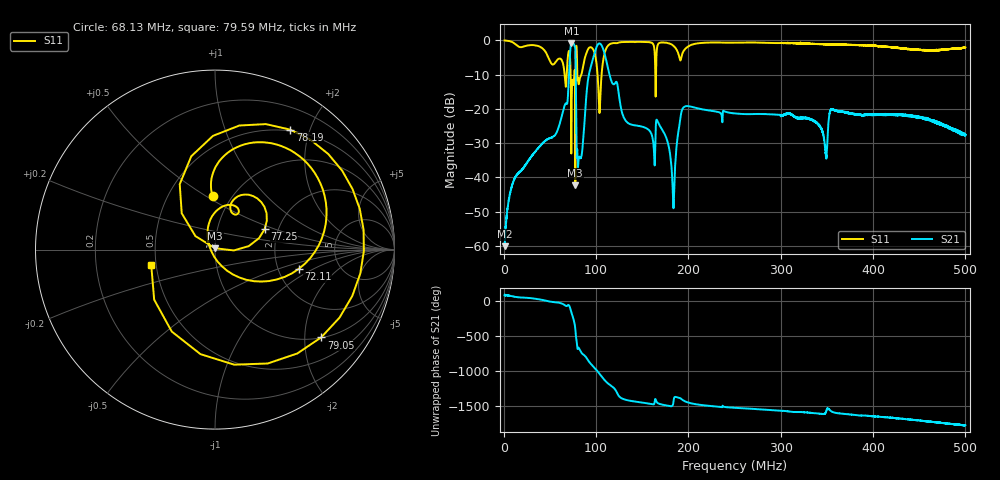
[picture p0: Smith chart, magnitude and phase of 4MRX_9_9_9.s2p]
! NanoVNA-App
! Date: 2026-08-19 14:28:17
! Start: 1MHz Stop: 500MHz Points: 6401
! S-Parameter data: F S11 S21 S12 S22
# Hz S RI R 50
!  Frequency  S11_Real  S11_Imag  S21_Real  S21_Imag  S12_Real  S12_Imag  S22_Real  S22_Imag
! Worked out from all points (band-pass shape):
!   6401 points, 1 MHz to 500 MHz, reference 50 ohm
!   highest |S21| = -0.80 dB at 73.43 MHz (marker M1); lowest = -60.1 dB at 1.078 MHz (marker M2)
!   |S21| within 3 dB of the highest: 71.89 MHz to 77.74 MHz (5.854 MHz wide, 7.82 % of centre); 98.32 MHz to 109.2 MHz (10.89 MHz wide, 10.5 % of centre)
!   lowest |S11| = -42.3 dB at 77.57 MHz (marker M3), VSWR 1.02, Z = 50 + j0.769 ohm
!   |S11| at or under -10 dB: 72.49 MHz to 76.44 MHz (3.944 MHz wide, 5.3 % of centre); 79.66 MHz to 84.09 MHz (4.428 MHz wide, 5.41 % of centre); 101.7 MHz to 106 MHz (4.345 MHz wide, 4.19 % of centre)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
!   S12 and S22 are empty: the file has one direction only
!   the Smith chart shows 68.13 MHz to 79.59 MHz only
!   S11 on the Smith chart (normalised r, x): 68.13 MHz: 0.82, +0.53; 72.11 MHz: 2.59, -0.73; 77.25 MHz: 1.70, +0.42; 78.19 MHz: 0.48, +1.70; 79.05 MHz: 1.01, -2.41; 79.59 MHz: 0.47, -0.09
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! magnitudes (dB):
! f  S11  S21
! 1 MHz  0.0  -59.2
! 1.078 MHz  0.0  -60.1
! 11.53 MHz  -0.8  -40.4
! 68.13 MHz  -10.5  -18.5
! 72.11 MHz  -6.4  -2.9
! 73.43 MHz  -21.5  -0.8
! 77.25 MHz  -10.5  -2.0
! 77.57 MHz  -42.3  -2.4
! 78.19 MHz  -2.1  -13.7
! 79.05 MHz  -2.3  -34.0
! 79.59 MHz  -8.7  -31.8
! 84.19 MHz  -9.9  -33.8
! 95.5 MHz  -2.1  -6.5
! 103.2 MHz  -18.6  -0.9
! 132.3 MHz  -0.5  -23.5
! 167.4 MHz  -1.0  -24.0
! 183.5 MHz  -1.5  -47.4
! 195.2 MHz  -2.9  -19.4
! 250.5 MHz  -0.6  -21.3
! 333.7 MHz  -1.0  -23.1
! 416.9 MHz  -1.9  -21.5
! 500 MHz  -2.0  -27.6
